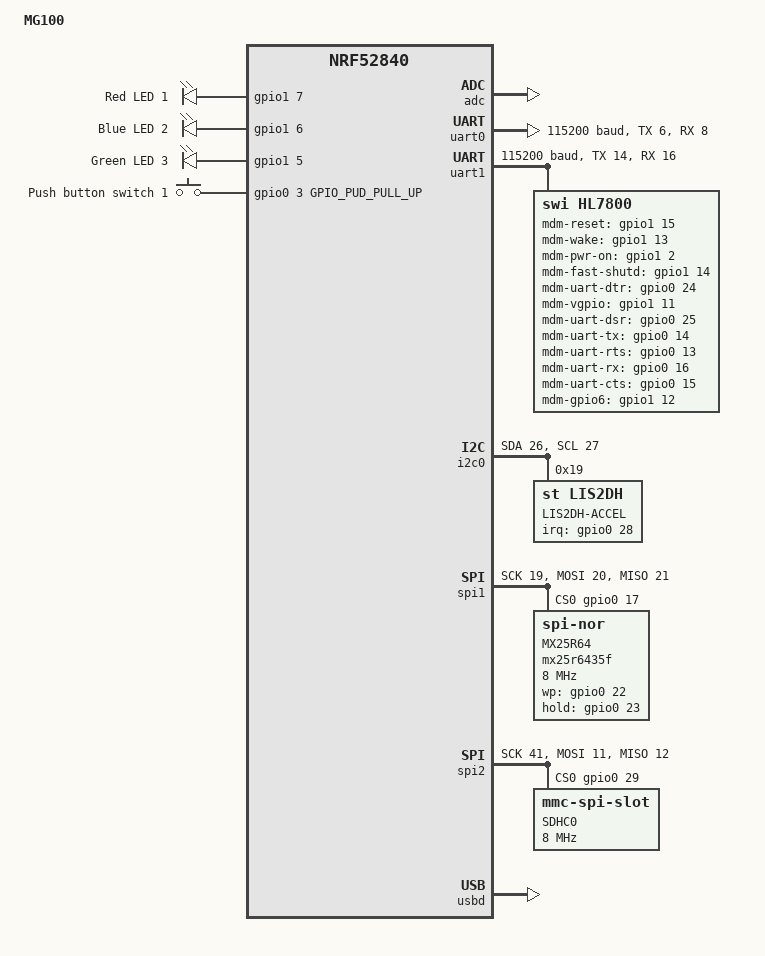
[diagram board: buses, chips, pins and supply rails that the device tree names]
/*
 * Copyright (c) 2020 Laird Connectivity
 *
 * SPDX-License-Identifier: Apache-2.0
 */

/dts-v1/;
#include <nordic/nrf52840_qiaa.dtsi>

/ {
	model = "MG100";
	compatible = "laird,mg100", "nordic,nrf52840-qiaa",
		     "nordic,nrf52840";

	chosen {
		zephyr,console = &uart0;
		zephyr,shell-uart = &uart0;
		zephyr,uart-mcumgr = &uart0;
		zephyr,bt-mon-uart = &uart0;
		zephyr,sram = &sram0;
		zephyr,flash = &flash0;
		zephyr,code-partition = &slot0_partition;
	};

	leds {
		compatible = "gpio-leds";
		led1: led_1 {
			gpios = <&gpio1 7 GPIO_INT_ACTIVE_HIGH>;
			label = "Red LED 1";
		};
		led2: led_2 {
			gpios = <&gpio1 6 GPIO_INT_ACTIVE_HIGH>;
			label = "Blue LED 2";
		};
		led3: led_3 {
			gpios = <&gpio1 5 GPIO_INT_ACTIVE_HIGH>;
			label = "Green LED 3";
		};
	};

	buttons {
		compatible = "gpio-keys";
		button1: button_1 {
			gpios = <&gpio0 3 GPIO_PUD_PULL_UP>;
			label = "Push button switch 1";
		};
	};

	/* These aliases are provided for compatibility with samples */
	aliases {
		led0 = &led1;
		led1 = &led2;
		led2 = &led3;
		sw0 = &button1;
	};
};

&adc {
	status ="ok";
};

&gpiote {
	status ="ok";
};

&gpio0 {
	status ="ok";
};

&gpio1 {
	status ="ok";
};

&uart0 {
	compatible = "nordic,nrf-uart";
	current-speed = <115200>;
	status = "ok";
	tx-pin = <6>;
	rx-pin = <8>;
	rts-pin = <5>;
	cts-pin = <7>;
};

&uart1 {
	current-speed = <115200>;
	status = "ok";
	tx-pin = <14>;
	rx-pin = <16>;
	rts-pin = <13>;
	cts-pin = <15>;
	hl7800 {
		compatible = "swi,hl7800";
		label = "hl7800";
		mdm-reset-gpios = <&gpio1 15 0>;
		mdm-wake-gpios = <&gpio1 13 0>;
		mdm-pwr-on-gpios = <&gpio1 2 0>;
		mdm-fast-shutd-gpios = <&gpio1 14 0>;
		mdm-uart-dtr-gpios = <&gpio0 24 0>;
		mdm-vgpio-gpios = <&gpio1 11 0>;
		mdm-uart-dsr-gpios = <&gpio0 25 0>;
		mdm-uart-tx-gpios = <&gpio0 14 0>;
		mdm-uart-rts-gpios = <&gpio0 13 0>;
		mdm-uart-rx-gpios = <&gpio0 16 0>;
		mdm-uart-cts-gpios = <&gpio0 15 0>;
		mdm-gpio6-gpios = <&gpio1 12 0>;
		status = "ok";
	};    
};

&i2c0 {
	status = "ok";
	sda-pin = <26>;
	scl-pin = <27>;

	lis2dh@0 {
		compatible = "st,lis2dh";
		reg = <0x19>;
		irq-gpios = <&gpio0 28 0>;
		label = "LIS2DH-ACCEL";
		temp-ref = <25>;
	};
};

&spi1 {
	status = "ok";
	compatible = "nordic,nrf-spi";
	sck-pin = <19>;
	mosi-pin = <20>;
	miso-pin = <21>;
	cs-gpios = <&gpio0 17 0>;
	mx25r6435f@0 {
		compatible = "jedec,spi-nor";
		reg = <0>;
		spi-max-frequency = <8000000>;
		label = "MX25R64";
		jedec-id = <0xc2 0x28 0x17>;
		size = <67108864>;
		wp-gpios = <&gpio0 22 0>;
		hold-gpios = <&gpio0 23 0>;
		erase-block-size = <4096>;
		write-block-size = <256>;
	};
};

&spi2 {
	status = "ok";
	compatible = "nordic,nrf-spi";
	sck-pin = <41>;
	mosi-pin = <11>;
	miso-pin = <12>;
    cs-gpios = <&gpio0 29 0>;
    sdhc0: sdhc@0 {
        compatible = "zephyr,mmc-spi-slot";
        reg = <0>;
        label = "SDHC0";
        spi-max-frequency = <8000000>;
    };
};

&flash0 {
	/*
	 * For more information, see:
	 * http://docs.zephyrproject.org/latest/guides/dts/index.html#flash-partitions
	 */
	partitions {
		compatible = "fixed-partitions";
		#address-cells = <1>;
		#size-cells = <1>;

		mbr_partition: partition@0 {
			label = "nordic-mbr";
			reg = <0x000000000 0x00001000>;
		};
		slot0_partition: partition@1000 {
			label = "app-img";
			reg = <0x00001000 0x0000CE000>;
		};
		/*
		 * The flash starting at 0x000cf000 and ending at
		 * 0x000d7000 is reserved for use by the application.
		 */
		/* Storage partition will be used by FCB/NFFS/NVS if enabled. */
		storage_partition: partition@D1000 {
			label = "storage";
			reg = <0x000CF000 0x00008000>;
		};
		boot_upgrade_partition: partition@D9000 {
			label = "boot-upgrade";
			reg = <0x000D7000 0x000013000>;
		};
		bootloader_partition: partition@EB000 {
			label = "bootloader-img";
			reg = <0x000EA000 0x000016000>;
		};
	};
};

&usbd {
	compatible = "nordic,nrf-usbd";
	status = "ok";
};
